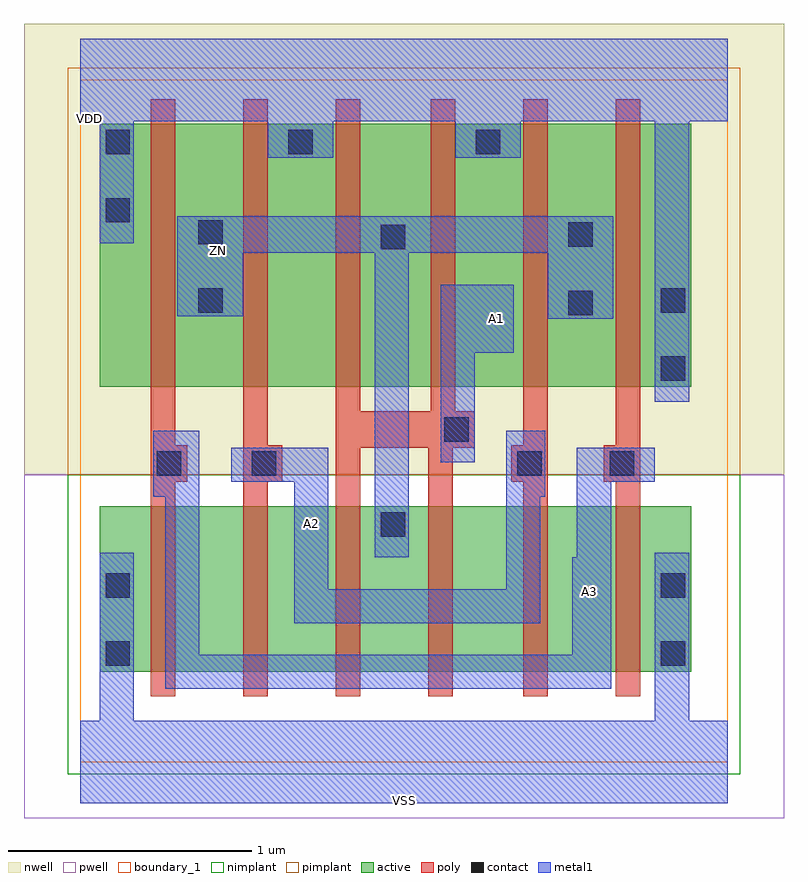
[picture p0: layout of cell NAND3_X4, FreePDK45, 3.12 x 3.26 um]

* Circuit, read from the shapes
.subckt NAND3_X4 A1 A2 A3 VDD VSS ZN
M1 n1 A3 VSS VSUBS nfet w=0.68u l=0.1u
M2 n2 A2 n1 VSUBS nfet w=0.68u l=0.1u
M3 ZN A1 n2 VSUBS nfet w=0.68u l=0.1u
M4 n3 A1 ZN VSUBS nfet w=0.68u l=0.1u
M5 n4 A2 n3 VSUBS nfet w=0.68u l=0.1u
M6 VSS A3 n4 VSUBS nfet w=0.68u l=0.1u
M7 ZN A3 VDD n5 pfet w=1.08u l=0.1u m=2
M8 VDD A2 ZN n5 pfet w=1.08u l=0.1u m=2
M9 ZN A1 VDD n5 pfet w=1.08u l=0.1u m=2
.ends

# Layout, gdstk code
import gdstk
lib = gdstk.Library(unit=1e-6, precision=1e-09)
def R(c, l, rs):  # rectangles x0, y0, x1, y1
    for r in rs: c.add(gdstk.rectangle(r[:2], r[2:], *l))
def P(c, l, *ps):  # polygons
    for p in ps: c.add(gdstk.Polygon(p, *l))
active = (1, 0)
pwell = (2, 0)
nwell = (3, 0)
nimplant = (4, 0)
pimplant = (5, 0)
poly = (9, 0)
contact = (10, 0)
metal1 = (11, 0)
boundary_1 = (235, 1)

nand3_x4 = lib.new_cell('NAND3_X4')
R(nand3_x4, active, [(0.08,0.37,2.51,1.05), (0.08,1.54,2.51,2.62)])
R(nand3_x4, pwell, [(-0.23,-0.23,2.89,1.18)])
R(nand3_x4, nwell, [(-0.23,1.18,2.89,3.03)])
R(nand3_x4, nimplant, [(-0.05,-0.05,2.71,1.18)])
R(nand3_x4, pimplant, [(-0.05,1.18,2.71,2.85)])
P(nand3_x4, poly, [(2.15,1.15),(2.2,1.15),(2.2,0.27),(2.3,0.27),(2.3,2.72),(2.2,2.72),(2.2,1.3),(2.15,1.3)],
  [(1.77,1.15),(1.82,1.15),(1.82,0.27),(1.92,0.27),(1.92,2.72),(1.82,2.72),(1.82,1.3),(1.77,1.3)],
  [(1.05,0.27),(1.15,0.27),(1.15,1.29),(1.43,1.29),(1.43,0.27),(1.53,0.27),(1.53,1.29),(1.62,1.29),(1.62,1.44),(1.54,1.44),(1.54,2.72),(1.44,2.72),(1.44,1.44),(1.15,1.44),(1.15,2.72),(1.05,2.72)],
  [(0.67,0.27),(0.77,0.27),(0.77,1.15),(0.83,1.15),(0.83,1.3),(0.77,1.3),(0.77,2.72),(0.67,2.72)],
  [(0.29,0.27),(0.39,0.27),(0.39,1.15),(0.44,1.15),(0.44,1.3),(0.39,1.3),(0.39,2.72),(0.29,2.72)])
R(nand3_x4, contact, [(0.105,0.395,0.205,0.495), (2.385,0.395,2.485,0.495), (0.105,0.675,0.205,0.775), (2.385,0.675,2.485,0.775), (1.235,0.925,1.335,1.025), (0.315,1.175,0.415,1.275), (0.705,1.175,0.805,1.275), (1.795,1.175,1.895,1.275), (2.175,1.175,2.275,1.275), (1.495,1.315,1.595,1.415), (2.385,1.565,2.485,1.665), (2.005,1.835,2.105,1.935), (0.485,1.845,0.585,1.945), (2.385,1.845,2.485,1.945), (1.235,2.105,1.335,2.205), (2.005,2.115,2.105,2.215), (0.485,2.125,0.585,2.225), (0.105,2.215,0.205,2.315), (0.105,2.495,0.205,2.595), (0.855,2.495,0.955,2.595), (1.625,2.495,1.725,2.595)])
P(nand3_x4, metal1, [(0.4,1.83),(0.67,1.83),(0.67,2.09),(1.21,2.09),(1.21,0.84),(1.35,0.84),(1.35,2.09),(1.92,2.09),(1.92,1.82),(2.19,1.82),(2.19,2.24),(0.4,2.24)],
  [(0.62,1.15),(0.88,1.15),(0.88,0.57),(1.89,0.57),(1.89,1.09),(1.91,1.09),(1.91,1.36),(1.75,1.36),(1.75,0.71),(1.02,0.71),(1.02,1.29),(0.62,1.29)],
  [(0,-0.17),(2.66,-0.17),(2.66,0.17),(2.5,0.17),(2.5,0.86),(2.36,0.86),(2.36,0.17),(0.22,0.17),(0.22,0.86),(0.08,0.86),(0.08,0.17),(0,0.17)],
  [(1.48,1.23),(1.62,1.23),(1.62,1.68),(1.78,1.68),(1.78,1.96),(1.48,1.96)],
  [(0.3,1.09),(0.35,1.09),(0.35,0.3),(2.18,0.3),(2.18,1.15),(2.36,1.15),(2.36,1.29),(2.04,1.29),(2.04,0.84),(2.02,0.84),(2.02,0.44),(0.49,0.44),(0.49,1.36),(0.3,1.36)],
  [(0,2.63),(0.08,2.63),(0.08,2.13),(0.22,2.13),(0.22,2.63),(0.77,2.63),(0.77,2.48),(1.04,2.48),(1.04,2.63),(1.54,2.63),(1.54,2.48),(1.81,2.48),(1.81,2.63),(2.36,2.63),(2.36,1.48),(2.5,1.48),(2.5,2.63),(2.66,2.63),(2.66,2.97),(0,2.97)],
  [(0,2.63),(0.08,2.63),(0.08,2.13),(0.22,2.13),(0.22,2.63),(0.77,2.63),(0.77,2.48),(1.04,2.48),(1.04,2.63),(1.54,2.63),(1.54,2.48),(1.81,2.48),(1.81,2.63),(2.36,2.63),(2.36,1.48),(2.5,1.48),(2.5,2.63),(2.66,2.63),(2.66,2.97),(0,2.97)],
  [(0,-0.17),(2.66,-0.17),(2.66,0.17),(2.5,0.17),(2.5,0.86),(2.36,0.86),(2.36,0.17),(0.22,0.17),(0.22,0.86),(0.08,0.86),(0.08,0.17),(0,0.17)],
  [(0.3,1.09),(0.35,1.09),(0.35,0.3),(2.18,0.3),(2.18,1.15),(2.36,1.15),(2.36,1.29),(2.04,1.29),(2.04,0.84),(2.02,0.84),(2.02,0.44),(0.49,0.44),(0.49,1.36),(0.3,1.36)],
  [(0.4,1.83),(0.67,1.83),(0.67,2.09),(1.21,2.09),(1.21,0.84),(1.35,0.84),(1.35,2.09),(1.92,2.09),(1.92,1.82),(2.19,1.82),(2.19,2.24),(0.4,2.24)],
  [(0.62,1.15),(0.88,1.15),(0.88,0.57),(1.89,0.57),(1.89,1.09),(1.91,1.09),(1.91,1.36),(1.75,1.36),(1.75,0.71),(1.02,0.71),(1.02,1.29),(0.62,1.29)],
  [(1.48,1.23),(1.62,1.23),(1.62,1.68),(1.78,1.68),(1.78,1.96),(1.48,1.96)])
R(nand3_x4, boundary_1, [(0,0,2.66,2.8)])
nand3_x4.add(gdstk.Label('ZN', (0.57,2.1), layer=11, texttype=0))
nand3_x4.add(gdstk.Label('VSS', (1.33,-0.16), layer=11, texttype=0))
nand3_x4.add(gdstk.Label('VDD', (0.04,2.64), layer=11, texttype=0))
nand3_x4.add(gdstk.Label('A3', (2.09,0.7), layer=11, texttype=0))
nand3_x4.add(gdstk.Label('A2', (0.95,0.98), layer=11, texttype=0))
nand3_x4.add(gdstk.Label('A1', (1.71,1.82), layer=11, texttype=0))

lib.write_gds('NAND3_X4.gds')
